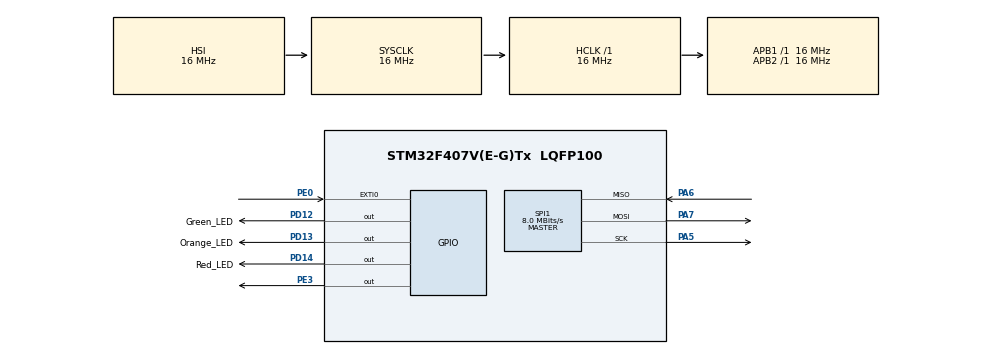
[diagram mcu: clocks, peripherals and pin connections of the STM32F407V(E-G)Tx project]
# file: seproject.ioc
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Mcu.Family=STM32F4
Mcu.Name=STM32F407V(E-G)Tx
Mcu.Package=LQFP100
NVIC.EXTI0_IRQn=true\:6\:0\:true\:false\:true\:true\:true
NVIC.PriorityGroup=NVIC_PRIORITYGROUP_4
NVIC.TIM6_DAC_IRQn=true\:0\:0\:false\:false\:true\:false\:true
NVIC.TimeBase=TIM6_DAC_IRQn
NVIC.TimeBaseIP=TIM6
PA13.Mode=Serial_Wire
PA13.Signal=SYS_JTMS-SWDIO
PA14.Mode=Serial_Wire
PA14.Signal=SYS_JTCK-SWCLK
PA5.Mode=Full_Duplex_Master
PA5.Signal=SPI1_SCK
PA6.Mode=Full_Duplex_Master
PA6.Signal=SPI1_MISO
PA7.Mode=Full_Duplex_Master
PA7.Signal=SPI1_MOSI
PD12.GPIO_Label=Green_LED
PD12.Signal=GPIO_Output
PD13.GPIO_Label=Orange_LED
PD13.Signal=GPIO_Output
PD14.GPIO_Label=Red_LED
PD14.Signal=GPIO_Output
PE0.Signal=GPXTI0
PE3.Signal=GPIO_Output
ProjectManager.HeapSize=0x200
ProjectManager.StackSize=0x400
ProjectManager.TargetToolchain=STM32CubeIDE
RCC.AHBFreq_Value=16000000
RCC.APB1Freq_Value=16000000
RCC.APB2Freq_Value=16000000
RCC.CortexFreq_Value=16000000
RCC.HSE_VALUE=25000000
RCC.HSI_VALUE=16000000
RCC.LSE_VALUE=32768
RCC.SYSCLKFreq_VALUE=16000000
RCC.VCOOutputFreq_Value=192000000
SPI1.CalculateBaudRate=8.0 MBits/s
SPI1.Direction=SPI_DIRECTION_2LINES
SPI1.Mode=SPI_MODE_MASTER
SPI1.VirtualType=VM_MASTER
VP_SYS_VS_tim6.Mode=TIM6
board=custom

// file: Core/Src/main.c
/* USER CODE BEGIN Header */
/**
  ******************************************************************************
  * @file           : main.c
  * @brief          : Main program body
  ******************************************************************************
  * @attention
  *
  * <h2><center>&copy; Copyright (c) 2021 STMicroelectronics.
  * All rights reserved.</center></h2>
  *
  * This software component is licensed by ST under BSD 3-Clause license,
  * the "License"; You may not use this file except in compliance with the
  * License. You may obtain a copy of the License at:
  *                        opensource.org/licenses/BSD-3-Clause
  *
  ******************************************************************************
  */
/* USER CODE END Header */
#include "main.h"

/* USER CODE BEGIN Includes */
#include "FreeRTOS.h"
#include "FreeRTOSConfig.h"
#include "task.h"
#include "semphr.h"

/* USER CODE END Includes */

/* USER CODE BEGIN PM */
#define LIS3DSH_WHO_AM_I_ADDR                0x0F
#define LIS3DSH_STAT_ADDR                    0x18
#define LIS3DSH_CTRL_REG4_ADDR               0x20
#define LIS3DSH_CTRL_REG1_ADDR               0x21
#define LIS3DSH_CTRL_REG2_ADDR               0x22
#define LIS3DSH_CTRL_REG3_ADDR               0x23
#define LIS3DSH_CTRL_REG5_ADDR               0x24
#define LIS3DSH_CTRL_REG6_ADDR               0x25

#define LIS3DSH_STATUS_ADDR                  0x27

#define LIS3DSH_OUT_X_L_ADDR                 0x28
#define LIS3DSH_OUT_X_H_ADDR                 0x29
#define LIS3DSH_OUT_Y_L_ADDR                 0x2A
#define LIS3DSH_OUT_Y_H_ADDR                 0x2B
#define LIS3DSH_OUT_Z_L_ADDR                 0x2C
#define LIS3DSH_OUT_Z_H_ADDR                 0x2D

#define LIS3DSH_ST1_1_ADDR                   0x40
#define LIS3DSH_ST1_2_ADDR                   0x41
#define LIS3DSH_THRS1_1_ADDR                 0x57
#define LIS3DSH_MASK1_B_ADDR                 0x59
#define LIS3DSH_MASK1_A_ADDR                 0x5A
#define LIS3DSH_SETT1_ADDR                   0x5B

/* USER CODE END PM */

SPI_HandleTypeDef hspi1;

/* USER CODE BEGIN PV */
SemaphoreHandle_t xSemaphore;
/* USER CODE END PV */

void SystemClock_Config(void);
static void MX_GPIO_Init(void);
static void MX_SPI1_Init(void);
/* USER CODE BEGIN PFP */
void GreenBlink();
void OrangeBlink();
/* USER CODE END PFP */

/* USER CODE BEGIN 0 */
void MEMS_Write(uint8_t address,uint8_t data){
	HAL_GPIO_WritePin(GPIOE, GPIO_PIN_3, GPIO_PIN_RESET);
	HAL_SPI_Transmit(&hspi1,&address,1,10);
	HAL_SPI_Transmit(&hspi1,&data,1,10);
	HAL_GPIO_WritePin(GPIOE, GPIO_PIN_3,GPIO_PIN_SET);
}
void MEMS_Read(uint8_t address,uint8_t *data){
    address |= 0x80;
	HAL_GPIO_WritePin(GPIOE,GPIO_PIN_3,GPIO_PIN_RESET);
	HAL_SPI_Transmit(&hspi1,&address,1,10);
	HAL_SPI_Receive(&hspi1,data,1,10);
	HAL_GPIO_WritePin(GPIOE,GPIO_PIN_3,GPIO_PIN_SET);
}
void MEM_Init()
{
  MEMS_Write(0x21,0x01);
  MEMS_Write(0x23,0x48);
  MEMS_Write(0x20,0x67);
  MEMS_Write(0x24,0x00);
  MEMS_Write(0x57,0x55);
  MEMS_Write(0x40,0x05);
  MEMS_Write(0x41,0x11);
  MEMS_Write(0x59,0xFC);
  MEMS_Write(0x5A,0xFC);
  MEMS_Write(0x5B,0x01);
}

/* USER CODE END 0 */

int main(void)
{

  /* MCU Configuration--------------------------------------------------------*/

  /* Reset of all peripherals, Initializes the Flash interface and the Systick. */
  HAL_Init();

  /* Configure the system clock */
  SystemClock_Config();

  /* Initialize all configured peripherals */
  MX_GPIO_Init();
  MX_SPI1_Init();
  /* USER CODE BEGIN 2 */
  MEM_Init();
  xSemaphore=xSemaphoreCreateBinary();
  xTaskCreate(GreenBlink,"Task1",1024,(void *)1,1,NULL);
  xTaskCreate(OrangeBlink,"Task2",1024,(void *)1,2,NULL);
  vTaskStartScheduler();
  /* USER CODE END 2 */

  /* Infinite loop */
  while (1)
  {

  }
}

void SystemClock_Config(void)
{
  RCC_OscInitTypeDef RCC_OscInitStruct = {0};
  RCC_ClkInitTypeDef RCC_ClkInitStruct = {0};

  /** Configure the main internal regulator output voltage
  */
  __HAL_RCC_PWR_CLK_ENABLE();
  __HAL_PWR_VOLTAGESCALING_CONFIG(PWR_REGULATOR_VOLTAGE_SCALE1);
  /** Initializes the RCC Oscillators according to the specified parameters
  * in the RCC_OscInitTypeDef structure.
  */
  RCC_OscInitStruct.OscillatorType = RCC_OSCILLATORTYPE_HSI;
  RCC_OscInitStruct.HSIState = RCC_HSI_ON;
  RCC_OscInitStruct.HSICalibrationValue = RCC_HSICALIBRATION_DEFAULT;
  RCC_OscInitStruct.PLL.PLLState = RCC_PLL_NONE;
  if (HAL_RCC_OscConfig(&RCC_OscInitStruct) != HAL_OK)
  {
    Error_Handler();
  }
  /** Initializes the CPU, AHB and APB buses clocks
  */
  RCC_ClkInitStruct.ClockType = RCC_CLOCKTYPE_HCLK|RCC_CLOCKTYPE_SYSCLK
                              |RCC_CLOCKTYPE_PCLK1|RCC_CLOCKTYPE_PCLK2;
  RCC_ClkInitStruct.SYSCLKSource = RCC_SYSCLKSOURCE_HSI;
  RCC_ClkInitStruct.AHBCLKDivider = RCC_SYSCLK_DIV1;
  RCC_ClkInitStruct.APB1CLKDivider = RCC_HCLK_DIV1;
  RCC_ClkInitStruct.APB2CLKDivider = RCC_HCLK_DIV1;

  if (HAL_RCC_ClockConfig(&RCC_ClkInitStruct, FLASH_LATENCY_0) != HAL_OK)
  {
    Error_Handler();
  }
}

static void MX_SPI1_Init(void)
{

  /* SPI1 parameter configuration*/
  hspi1.Instance = SPI1;
  hspi1.Init.Mode = SPI_MODE_MASTER;
  hspi1.Init.Direction = SPI_DIRECTION_2LINES;
  hspi1.Init.DataSize = SPI_DATASIZE_8BIT;
  hspi1.Init.CLKPolarity = SPI_POLARITY_LOW;
  hspi1.Init.CLKPhase = SPI_PHASE_1EDGE;
  hspi1.Init.NSS = SPI_NSS_SOFT;
  hspi1.Init.BaudRatePrescaler = SPI_BAUDRATEPRESCALER_2;
  hspi1.Init.FirstBit = SPI_FIRSTBIT_MSB;
  hspi1.Init.TIMode = SPI_TIMODE_DISABLE;
  hspi1.Init.CRCCalculation = SPI_CRCCALCULATION_DISABLE;
  hspi1.Init.CRCPolynomial = 10;
  if (HAL_SPI_Init(&hspi1) != HAL_OK)
  {
    Error_Handler();
  }

}

static void MX_GPIO_Init(void)
{
  GPIO_InitTypeDef GPIO_InitStruct = {0};

  /* GPIO Ports Clock Enable */
  __HAL_RCC_GPIOE_CLK_ENABLE();
  __HAL_RCC_GPIOA_CLK_ENABLE();
  __HAL_RCC_GPIOD_CLK_ENABLE();

  /*Configure GPIO pin Output Level */
  HAL_GPIO_WritePin(GPIOE, GPIO_PIN_3, GPIO_PIN_RESET);

  /*Configure GPIO pin Output Level */
  HAL_GPIO_WritePin(GPIOD, Green_LED_Pin|Orange_LED_Pin|Red_LED_Pin, GPIO_PIN_RESET);

  /*Configure GPIO pin : PE3 */
  GPIO_InitStruct.Pin = GPIO_PIN_3;
  GPIO_InitStruct.Mode = GPIO_MODE_OUTPUT_PP;
  GPIO_InitStruct.Pull = GPIO_NOPULL;
  GPIO_InitStruct.Speed = GPIO_SPEED_FREQ_LOW;
  HAL_GPIO_Init(GPIOE, &GPIO_InitStruct);

  /*Configure GPIO pins : Green_LED_Pin Orange_LED_Pin Red_LED_Pin */
  GPIO_InitStruct.Pin = Green_LED_Pin|Orange_LED_Pin|Red_LED_Pin;
  GPIO_InitStruct.Mode = GPIO_MODE_OUTPUT_PP;
  GPIO_InitStruct.Pull = GPIO_NOPULL;
  GPIO_InitStruct.Speed = GPIO_SPEED_FREQ_LOW;
  HAL_GPIO_Init(GPIOD, &GPIO_InitStruct);

  /*Configure GPIO pin : PE0 */
  GPIO_InitStruct.Pin = GPIO_PIN_0;
  GPIO_InitStruct.Mode = GPIO_MODE_IT_RISING;
  GPIO_InitStruct.Pull = GPIO_NOPULL;
  HAL_GPIO_Init(GPIOE, &GPIO_InitStruct);

  /* EXTI interrupt init*/
  HAL_NVIC_SetPriority(EXTI0_IRQn, 6, 0);
  HAL_NVIC_EnableIRQ(EXTI0_IRQn);

}

/* USER CODE BEGIN 4 */
void GreenBlink()
{
	for(;;)
	{
		HAL_GPIO_TogglePin(GPIOD, Green_LED_Pin);
		vTaskDelay(1000);
	}
}

void OrangeBlink()
{
	for(;;)
	{
		uint8_t data;
		xSemaphoreTake(xSemaphore, portMAX_DELAY);
		for (int i=0;i<5;i++)
		{
			HAL_GPIO_WritePin(Orange_LED_GPIO_Port,GPIO_PIN_13,GPIO_PIN_SET);
			vTaskDelay(1000);
			HAL_GPIO_WritePin(Orange_LED_GPIO_Port,GPIO_PIN_13,GPIO_PIN_RESET);
			vTaskDelay(1000);
		}
		MEMS_Read(0x5f,&data);
	}
}

void HAL_GPIO_EXTI_Callback(uint16_t GPIO_Pin)  //ISR
{
    static portBASE_TYPE xHigherPriorityTaskWoken;
    xHigherPriorityTaskWoken=pdFALSE;
    if(HAL_GPIO_ReadPin(GPIOD,GPIO_PIN_14))
    {
        HAL_GPIO_WritePin(Red_LED_GPIO_Port,GPIO_PIN_14,GPIO_PIN_RESET);
    }
    else
    {
        HAL_GPIO_WritePin(Red_LED_GPIO_Port,GPIO_PIN_14,GPIO_PIN_SET);
    }
    xSemaphoreGiveFromISR(xSemaphore, &xHigherPriorityTaskWoken);
    portYIELD_FROM_ISR(xHigherPriorityTaskWoken);
}

/* USER CODE END 4 */

 /**
  * @brief  Period elapsed callback in non blocking mode
  * @note   This function is called  when TIM6 interrupt took place, inside
  * HAL_TIM_IRQHandler(). It makes a direct call to HAL_IncTick() to increment
  * a global variable "uwTick" used as application time base.
  * @param  htim : TIM handle
  * @retval None
  */
void HAL_TIM_PeriodElapsedCallback(TIM_HandleTypeDef *htim)
{
  if (htim->Instance == TIM6) {
    HAL_IncTick();
  }
}

void Error_Handler(void)
{
  __disable_irq();
  while (1)
  {
  }
}

/************************ (C) COPYRIGHT STMicroelectronics *****END OF FILE****/
